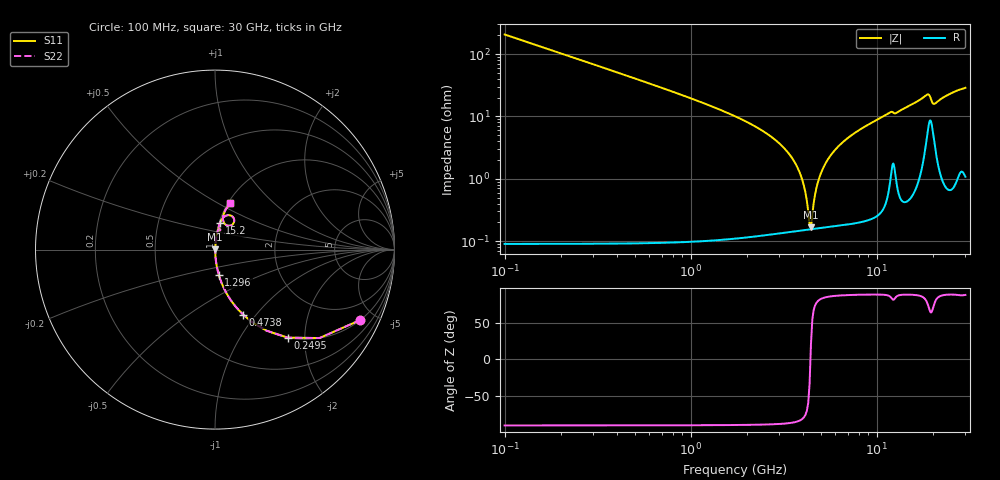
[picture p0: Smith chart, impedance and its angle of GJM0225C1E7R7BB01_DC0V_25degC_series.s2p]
!Murata Part Number: GJM0225C1E7R7BB01
!These Parameters are Measured in Series Mode Connection
!  o--ll--o
!Port1  Port2
!  o------o
!Operation Temp=25[degC], DC Bias Voltage=0[V]
!Freq. Start=100[MHz] Stop=30[GHz], 401[Steps]
!Data Generated on Feb 1, 2023
# Hz S RI R 50
!Freq.(Hz) S11(Real) S11(Imag) S21(Real) S21(Imag) S12(Real) S12(Imag) S22(Real) S22(Imag)
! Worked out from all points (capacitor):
!   401 points, 100 MHz to 30 GHz, reference 50 ohm
!   read as one part in series: C = 7.7 pF near 249.5 MHz
!   lowest |Z| = 166 mohm at 4.436 GHz (marker M1)
!   series resonance near 4.408 GHz, so ESL is about 170 pH
!   S11 on the Smith chart (normalised r, x): 100 MHz: 1.00, -4.13; 249.5 MHz: 1.00, -1.65; 473.8 MHz: 1.00, -0.86; 1.296 GHz: 1.00, -0.29; 15.2 GHz: 1.01, +0.30; 30 GHz: 1.02, +0.58
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1e8  0.8101 -0.392  0.1899 0.392  0.1899 0.392  0.8101 -0.392
2.495e8  0.4055 -0.4904  0.5945 0.4904  0.5945 0.4904  0.4055 -0.4904
4.7375e8  0.1573 -0.363  0.8427 0.363  0.8427 0.363  0.1573 -0.363
7.7275e8  0.0637 -0.2424  0.9363 0.2424  0.9363 0.2424  0.0637 -0.2424
1.296e9  0.0217 -0.1423  0.9783 0.1423  0.9783 0.1423  0.0217 -0.1423
3.5385e9  0.00184 -0.0206  0.9982 0.0206  0.9982 0.0206  0.00184 -0.0206
3.91225e9  0.0016 -0.0111  0.9984 0.0111  0.9984 0.0111  0.0016 -0.0111
4.06175e9  0.00155 -0.00763  0.9984 0.00763  0.9984 0.00763  0.00155 -0.00763
4.286e9  0.00153 -0.00261  0.9985 0.00261  0.9985 0.00261  0.00153 -0.00261
4.4355e9  0.00154 0.000592  0.9985 -0.000592  0.9985 -0.000592  0.00154 0.000592
4.51025e9  0.00156 0.00215  0.9984 -0.00215  0.9984 -0.00215  0.00156 0.00215
4.80925e9  0.00166 0.00815  0.9983 -0.00815  0.9983 -0.00815  0.00166 0.00815
5.10825e9  0.00182 0.0138  0.9982 -0.0138  0.9982 -0.0138  0.00182 0.0138
5.781e9  0.00236 0.0256  0.9976 -0.0256  0.9976 -0.0256  0.00236 0.0256
6.75275e9  0.00351 0.0411  0.9965 -0.0411  0.9965 -0.0411  0.00351 0.0411
1.01165e10  0.0104 0.0881  0.9896 -0.0881  0.9896 -0.0881  0.0104 0.0881
1.505e10  0.0263 0.1451  0.9737 -0.1451  0.9737 -0.1451  0.0263 0.1451
1.51995e10  0.0271 0.1471  0.9729 -0.1471  0.9729 -0.1471  0.0271 0.1471
1.871275e10  0.0881 0.1898  0.9119 -0.1898  0.9119 -0.1898  0.0881 0.1898
2.005825e10  0.0727 0.1332  0.9273 -0.1332  0.9273 -0.1332  0.0727 0.1332
2.50665e10  0.0576 0.2193  0.9424 -0.2193  0.9424 -0.2193  0.0576 0.2193
3e10  0.0848 0.2605  0.9152 -0.2605  0.9152 -0.2605  0.0848 0.2605
